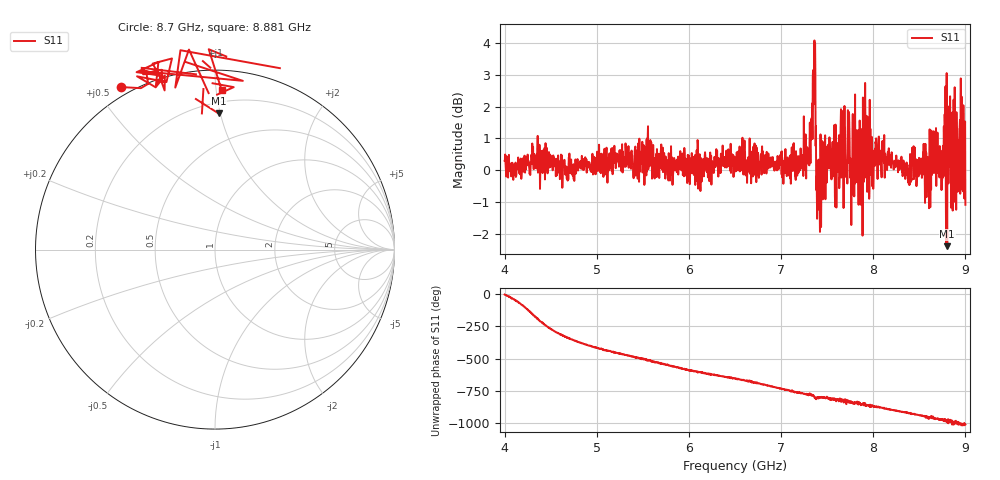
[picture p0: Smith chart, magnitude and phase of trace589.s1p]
! Created with skrf 1.8.0 (http://scikit-rf.org).
# Hz S RI R 50.0
!freq ReS11 ImS11
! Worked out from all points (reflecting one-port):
!   1601 points, 4 GHz to 9 GHz, reference 50 ohm
!   lowest |S11| = -2.4 dB at 8.803 GHz (marker M1), VSWR 7.28, Z = 13.8 + j49.4 ohm
!   phase of S11 starts at -5 deg and turns -1004 deg over the sweep
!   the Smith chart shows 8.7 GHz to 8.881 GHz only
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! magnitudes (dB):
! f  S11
! 4 GHz  0.3
! 4.625 GHz  -0.6
! 5.25 GHz  0.5
! 5.875 GHz  0.2
! 6.5 GHz  0.1
! 7.125 GHz  0.4
! 7.294 GHz  0.5
! 7.316 GHz  0.6
! 7.347 GHz  3.2
! 7.369 GHz  4.0
! 7.4 GHz  -0.4
! 7.409 GHz  -1.2
! 7.503 GHz  0.2
! 7.609 GHz  0.8
! 7.669 GHz  1.0
! 7.75 GHz  -0.2
! 7.775 GHz  1.2
! 7.928 GHz  1.7
! 7.981 GHz  0.0
! 8.375 GHz  -0.3
! 8.441 GHz  -0.3
! 8.581 GHz  0.2
! 8.656 GHz  1.2
! 8.728 GHz  0.1
! 8.803 GHz  -2.4
! 8.956 GHz  0.3
! 8.972 GHz  0.7
! 9 GHz  -1.1
